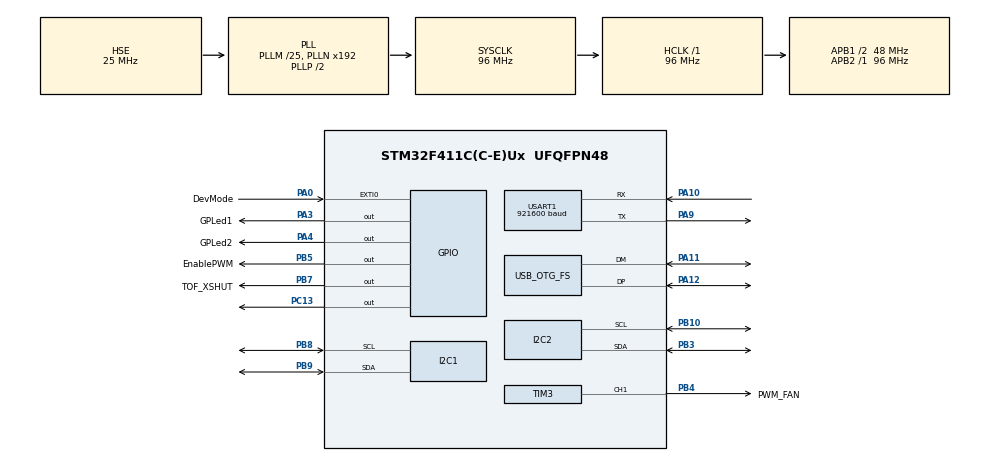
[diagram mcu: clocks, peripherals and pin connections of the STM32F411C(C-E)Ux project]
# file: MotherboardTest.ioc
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I2C1.I2C_Mode=I2C_Fast
I2C2.I2C_Mode=I2C_Fast
Mcu.Family=STM32F4
Mcu.Name=STM32F411C(C-E)Ux
Mcu.Package=UFQFPN48
NVIC.EXTI0_IRQn=true\:0\:0\:false\:false\:true\:true\:true\:true
NVIC.OTG_FS_IRQn=true\:0\:0\:false\:false\:true\:false\:true\:true
NVIC.PriorityGroup=NVIC_PRIORITYGROUP_4
NVIC.TIM1_UP_TIM10_IRQn=true\:0\:0\:false\:false\:true\:true\:true\:true
NVIC.USART1_IRQn=true\:0\:0\:false\:false\:true\:true\:true\:true
PA0-WKUP.GPIO_Label=DevMode
PA0-WKUP.GPIO_ModeDefaultEXTI=GPIO_MODE_IT_FALLING
PA0-WKUP.GPIO_PuPd=GPIO_PULLUP
PA0-WKUP.Signal=GPXTI0
PA10.Mode=Asynchronous
PA10.Signal=USART1_RX
PA11.Mode=Device_Only
PA11.Signal=USB_OTG_FS_DM
PA12.Mode=Device_Only
PA12.Signal=USB_OTG_FS_DP
PA13.Mode=Serial_Wire
PA13.Signal=SYS_JTMS-SWDIO
PA14.Mode=Serial_Wire
PA14.Signal=SYS_JTCK-SWCLK
PA3.GPIO_Label=GPLed1
PA3.Signal=GPIO_Output
PA4.GPIO_Label=GPLed2
PA4.Signal=GPIO_Output
PA9.Mode=Asynchronous
PA9.Signal=USART1_TX
PB10.Mode=I2C
PB10.Signal=I2C2_SCL
PB3.Mode=I2C
PB3.Signal=I2C2_SDA
PB4.GPIO_Label=PWM_FAN
PB4.Signal=S_TIM3_CH1
PB5.GPIO_Label=EnablePWM
PB5.Signal=GPIO_Output
PB7.GPIO_Label=TOF_XSHUT
PB7.Signal=GPIO_Output
PB8.Mode=I2C
PB8.Signal=I2C1_SCL
PB9.Mode=I2C
PB9.Signal=I2C1_SDA
PC13-ANTI_TAMP.Signal=GPIO_Output
PC14-OSC32_IN.Mode=LSE-External-Oscillator
PC14-OSC32_IN.Signal=RCC_OSC32_IN
PC15-OSC32_OUT.Mode=LSE-External-Oscillator
PC15-OSC32_OUT.Signal=RCC_OSC32_OUT
PH0\ -\ OSC_IN.Mode=HSE-External-Oscillator
PH0\ -\ OSC_IN.Signal=RCC_OSC_IN
PH1\ -\ OSC_OUT.Mode=HSE-External-Oscillator
PH1\ -\ OSC_OUT.Signal=RCC_OSC_OUT
ProjectManager.HeapSize=0x200
ProjectManager.StackSize=0x400
ProjectManager.TargetToolchain=STM32CubeIDE
RCC.48MHZClocksFreq_Value=48000000
RCC.AHBFreq_Value=96000000
RCC.APB1CLKDivider=RCC_HCLK_DIV2
RCC.APB1Freq_Value=48000000
RCC.APB1TimFreq_Value=96000000
RCC.APB2Freq_Value=96000000
RCC.APB2TimFreq_Value=96000000
RCC.CortexFreq_Value=96000000
RCC.HCLKFreq_Value=96000000
RCC.HSE_VALUE=25000000
RCC.HSI_VALUE=16000000
RCC.PLLM=25
RCC.RCC_RTC_Clock_Source=RCC_RTCCLKSOURCE_LSE
RCC.RCC_RTC_Clock_SourceVirtual=RCC_RTCCLKSOURCE_LSE
RCC.SYSCLKFreq_VALUE=96000000
RCC.SYSCLKSource=RCC_SYSCLKSOURCE_PLLCLK
RCC.VCOOutputFreq_Value=192000000
SH.S_TIM3_CH1.0=TIM3_CH1,PWM Generation1 CH1
TIM1.AutoReloadPreload=TIM_AUTORELOAD_PRELOAD_ENABLE
TIM1.Period=47999
TIM1.Prescaler=1
TIM3.AutoReloadPreload=TIM_AUTORELOAD_PRELOAD_ENABLE
TIM3.Channel-PWM\ Generation1\ CH1=TIM_CHANNEL_1
TIM3.Period=2999
USART1.BaudRate=921600
USART1.Parity=PARITY_EVEN
USART1.VirtualMode=VM_ASYNC
USART1.WordLength=WORDLENGTH_9B
USB_DEVICE.CLASS_NAME_FS=CDC
USB_DEVICE.PRODUCT_STRING_CDC_FS=STM32 Pneumatic Levitator Test
USB_DEVICE.VirtualMode=Cdc
USB_DEVICE.VirtualModeFS=Cdc_FS
USB_OTG_FS.VirtualMode=Device_Only
VP_RTC_VS_RTC_Activate.Mode=RTC_Enabled
VP_TIM1_VS_ClockSourceINT.Mode=Internal
VP_TIM3_VS_ClockSourceINT.Mode=Internal
VP_USB_DEVICE_VS_USB_DEVICE_CDC_FS.Mode=CDC_FS
board=custom

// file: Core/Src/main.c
/* USER CODE BEGIN Header */
/**
  ******************************************************************************
  * @file           : main.c
  * @brief          : Main program body
  ******************************************************************************
  * @attention
  *
  * Copyright (c) 2023 STMicroelectronics.
  * All rights reserved.
  *
  * This software is licensed under terms that can be found in the LICENSE file
  * in the root directory of this software component.
  * If no LICENSE file comes with this software, it is provided AS-IS.
  *
  ******************************************************************************
  */
/* USER CODE END Header */
#include "main.h"
#include "usb_device.h"

/* USER CODE BEGIN Includes */
#include "usbd_cdc_if.h"
#include "vl53l0x_api.h"
#include "vl53l0x_platform.h"
#include <stdio.h>
#include <string.h>
/* USER CODE END Includes */

/* USER CODE BEGIN PD */
#define EEPROM_ADDR 0xA0
#define Reference 520
#define MeasureTolerance 5 //To reduce numeric noise
/* USER CODE END PD */

I2C_HandleTypeDef hi2c1;
I2C_HandleTypeDef hi2c2;

RTC_HandleTypeDef hrtc;

TIM_HandleTypeDef htim1;
TIM_HandleTypeDef htim3;

UART_HandleTypeDef huart1;

void SystemClock_Config(void);
static void MX_GPIO_Init(void);
static void MX_I2C1_Init(void);
static void MX_I2C2_Init(void);
static void MX_RTC_Init(void);
static void MX_USART1_UART_Init(void);
static void MX_TIM1_Init(void);
static void MX_TIM3_Init(void);
/* USER CODE BEGIN PFP */
static void vTaskUSBSensor(void);
static void vTaskUSB(void);
static void vTaskBlink(void);
static void vTaskFan(void);
/* USER CODE END PFP */

/* USER CODE BEGIN 0 */
extern USBD_HandleTypeDef hUsbDeviceFS;
const char* Start = "Starting count\n";
const char* Overflow = "Overflow on the counter\n";
char Buffer[32] = "";
char USBBuffer[45] = "";
char UART_IncomData;
uint16_t Flag = 1;
uint16_t ParsedFlag = 1;
uint8_t DeviceConnected = 0;
uint8_t NeedToReport = 0;
static uint16_t MaxCCR = 0;
//VL053L0X
static VL53L0X_RangingMeasurementData_t RangingData;
static VL53L0X_Dev_t  vl53l0x_c; //center module
static VL53L0X_DEV    Dev = &vl53l0x_c;
static uint32_t refSpadCount;
static uint8_t isApertureSpads;
static uint8_t VhvSettings;
static uint8_t PhaseCal;
static uint16_t distance, past_measure;
/* USER CODE END 0 */

int main(void)
{

  /* MCU Configuration--------------------------------------------------------*/

  /* Reset of all peripherals, Initializes the Flash interface and the Systick. */
  HAL_Init();

  /* Configure the system clock */
  SystemClock_Config();

  /* Initialize all configured peripherals */
  MX_GPIO_Init();
  MX_I2C1_Init();
  MX_I2C2_Init();
  MX_RTC_Init();
  MX_USART1_UART_Init();
  MX_USB_DEVICE_Init();
  MX_TIM1_Init();
  MX_TIM3_Init();
  /* USER CODE BEGIN 2 */
  HAL_TIM_Base_Start_IT(&htim1);
  HAL_UART_Receive_IT(&huart1, (uint8_t*)&UART_IncomData, 1);

  /* Init the VL53L0X sensor */
  MaxCCR = htim3.Init.Period;
  Dev->I2cHandle = &hi2c1;
  Dev->I2cDevAddr = 0x52;

  //Disable XSHUT
  HAL_GPIO_WritePin(TOF_XSHUT_GPIO_Port, TOF_XSHUT_Pin, GPIO_PIN_RESET);
  HAL_Delay(20);

  //Enable XSHUT
  HAL_GPIO_WritePin(TOF_XSHUT_GPIO_Port, TOF_XSHUT_Pin, GPIO_PIN_SET);
  HAL_Delay(20);

  VL53L0X_WaitDeviceBooted( Dev );
  VL53L0X_DataInit( Dev );
  VL53L0X_StaticInit( Dev );
  VL53L0X_PerformRefCalibration(Dev, &VhvSettings, &PhaseCal);
  VL53L0X_PerformRefSpadManagement(Dev, &refSpadCount, &isApertureSpads);
  VL53L0X_SetDeviceMode(Dev, VL53L0X_DEVICEMODE_SINGLE_RANGING);

  //Enable/Disable Sigma and Signal check
  VL53L0X_SetLimitCheckEnable(Dev, VL53L0X_CHECKENABLE_SIGMA_FINAL_RANGE, 1);
  VL53L0X_SetLimitCheckEnable(Dev, VL53L0X_CHECKENABLE_SIGNAL_RATE_FINAL_RANGE, 1);
  VL53L0X_SetLimitCheckValue(Dev, VL53L0X_CHECKENABLE_SIGNAL_RATE_FINAL_RANGE, (FixPoint1616_t)(0.1*65536));
  VL53L0X_SetLimitCheckValue(Dev, VL53L0X_CHECKENABLE_SIGMA_FINAL_RANGE, (FixPoint1616_t)(60*65536));
  VL53L0X_SetMeasurementTimingBudgetMicroSeconds(Dev, 33000);
  VL53L0X_SetVcselPulsePeriod(Dev, VL53L0X_VCSEL_PERIOD_PRE_RANGE, 18);
  VL53L0X_SetVcselPulsePeriod(Dev, VL53L0X_VCSEL_PERIOD_FINAL_RANGE, 14);

  /*PWM FAN Init*/
  TIM3->CCR1 = 149; //Low PWM signal at start - 5% of Duty
  HAL_TIM_PWM_Start(&htim3, TIM_CHANNEL_1);
  HAL_GPIO_WritePin(EnablePWM_GPIO_Port, EnablePWM_Pin, 1); //Turning on the AND gate
  /* USER CODE END 2 */

  /* Infinite loop */
  /* USER CODE BEGIN WHILE */
  while (1)
  {
		//vTaskUSB();
		vTaskUSBSensor();
		vTaskBlink();
		vTaskFan();
		ParsedFlag = 1;
		while(ParsedFlag); //Parsed Loop @ 1ms
    /* USER CODE END WHILE */

  }
}

void SystemClock_Config(void)
{
  RCC_OscInitTypeDef RCC_OscInitStruct = {0};
  RCC_ClkInitTypeDef RCC_ClkInitStruct = {0};

  /** Configure the main internal regulator output voltage
  */
  __HAL_RCC_PWR_CLK_ENABLE();
  __HAL_PWR_VOLTAGESCALING_CONFIG(PWR_REGULATOR_VOLTAGE_SCALE1);

  /** Initializes the RCC Oscillators according to the specified parameters
  * in the RCC_OscInitTypeDef structure.
  */
  RCC_OscInitStruct.OscillatorType = RCC_OSCILLATORTYPE_HSE|RCC_OSCILLATORTYPE_LSE;
  RCC_OscInitStruct.HSEState = RCC_HSE_ON;
  RCC_OscInitStruct.LSEState = RCC_LSE_ON;
  RCC_OscInitStruct.PLL.PLLState = RCC_PLL_ON;
  RCC_OscInitStruct.PLL.PLLSource = RCC_PLLSOURCE_HSE;
  RCC_OscInitStruct.PLL.PLLM = 25;
  RCC_OscInitStruct.PLL.PLLN = 192;
  RCC_OscInitStruct.PLL.PLLP = RCC_PLLP_DIV2;
  RCC_OscInitStruct.PLL.PLLQ = 4;
  if (HAL_RCC_OscConfig(&RCC_OscInitStruct) != HAL_OK)
  {
    Error_Handler();
  }

  /** Initializes the CPU, AHB and APB buses clocks
  */
  RCC_ClkInitStruct.ClockType = RCC_CLOCKTYPE_HCLK|RCC_CLOCKTYPE_SYSCLK
                              |RCC_CLOCKTYPE_PCLK1|RCC_CLOCKTYPE_PCLK2;
  RCC_ClkInitStruct.SYSCLKSource = RCC_SYSCLKSOURCE_PLLCLK;
  RCC_ClkInitStruct.AHBCLKDivider = RCC_SYSCLK_DIV1;
  RCC_ClkInitStruct.APB1CLKDivider = RCC_HCLK_DIV2;
  RCC_ClkInitStruct.APB2CLKDivider = RCC_HCLK_DIV1;

  if (HAL_RCC_ClockConfig(&RCC_ClkInitStruct, FLASH_LATENCY_3) != HAL_OK)
  {
    Error_Handler();
  }
}

static void MX_I2C1_Init(void)
{

  hi2c1.Instance = I2C1;
  hi2c1.Init.ClockSpeed = 400000;
  hi2c1.Init.DutyCycle = I2C_DUTYCYCLE_2;
  hi2c1.Init.OwnAddress1 = 0;
  hi2c1.Init.AddressingMode = I2C_ADDRESSINGMODE_7BIT;
  hi2c1.Init.DualAddressMode = I2C_DUALADDRESS_DISABLE;
  hi2c1.Init.OwnAddress2 = 0;
  hi2c1.Init.GeneralCallMode = I2C_GENERALCALL_DISABLE;
  hi2c1.Init.NoStretchMode = I2C_NOSTRETCH_DISABLE;
  if (HAL_I2C_Init(&hi2c1) != HAL_OK)
  {
    Error_Handler();
  }

}

static void MX_I2C2_Init(void)
{

  hi2c2.Instance = I2C2;
  hi2c2.Init.ClockSpeed = 400000;
  hi2c2.Init.DutyCycle = I2C_DUTYCYCLE_2;
  hi2c2.Init.OwnAddress1 = 0;
  hi2c2.Init.AddressingMode = I2C_ADDRESSINGMODE_7BIT;
  hi2c2.Init.DualAddressMode = I2C_DUALADDRESS_DISABLE;
  hi2c2.Init.OwnAddress2 = 0;
  hi2c2.Init.GeneralCallMode = I2C_GENERALCALL_DISABLE;
  hi2c2.Init.NoStretchMode = I2C_NOSTRETCH_DISABLE;
  if (HAL_I2C_Init(&hi2c2) != HAL_OK)
  {
    Error_Handler();
  }

}

static void MX_RTC_Init(void)
{

  /** Initialize RTC Only
  */
  hrtc.Instance = RTC;
  hrtc.Init.HourFormat = RTC_HOURFORMAT_24;
  hrtc.Init.AsynchPrediv = 127;
  hrtc.Init.SynchPrediv = 255;
  hrtc.Init.OutPut = RTC_OUTPUT_DISABLE;
  hrtc.Init.OutPutPolarity = RTC_OUTPUT_POLARITY_HIGH;
  hrtc.Init.OutPutType = RTC_OUTPUT_TYPE_OPENDRAIN;
  if (HAL_RTC_Init(&hrtc) != HAL_OK)
  {
    Error_Handler();
  }

}

static void MX_TIM1_Init(void)
{

  TIM_ClockConfigTypeDef sClockSourceConfig = {0};
  TIM_MasterConfigTypeDef sMasterConfig = {0};

  htim1.Instance = TIM1;
  htim1.Init.Prescaler = 1;
  htim1.Init.CounterMode = TIM_COUNTERMODE_UP;
  htim1.Init.Period = 47999;
  htim1.Init.ClockDivision = TIM_CLOCKDIVISION_DIV1;
  htim1.Init.RepetitionCounter = 0;
  htim1.Init.AutoReloadPreload = TIM_AUTORELOAD_PRELOAD_ENABLE;
  if (HAL_TIM_Base_Init(&htim1) != HAL_OK)
  {
    Error_Handler();
  }
  sClockSourceConfig.ClockSource = TIM_CLOCKSOURCE_INTERNAL;
  if (HAL_TIM_ConfigClockSource(&htim1, &sClockSourceConfig) != HAL_OK)
  {
    Error_Handler();
  }
  sMasterConfig.MasterOutputTrigger = TIM_TRGO_RESET;
  sMasterConfig.MasterSlaveMode = TIM_MASTERSLAVEMODE_DISABLE;
  if (HAL_TIMEx_MasterConfigSynchronization(&htim1, &sMasterConfig) != HAL_OK)
  {
    Error_Handler();
  }

}

static void MX_TIM3_Init(void)
{

  TIM_ClockConfigTypeDef sClockSourceConfig = {0};
  TIM_MasterConfigTypeDef sMasterConfig = {0};
  TIM_OC_InitTypeDef sConfigOC = {0};

  htim3.Instance = TIM3;
  htim3.Init.Prescaler = 0;
  htim3.Init.CounterMode = TIM_COUNTERMODE_UP;
  htim3.Init.Period = 2999;
  htim3.Init.ClockDivision = TIM_CLOCKDIVISION_DIV1;
  htim3.Init.AutoReloadPreload = TIM_AUTORELOAD_PRELOAD_ENABLE;
  if (HAL_TIM_Base_Init(&htim3) != HAL_OK)
  {
    Error_Handler();
  }
  sClockSourceConfig.ClockSource = TIM_CLOCKSOURCE_INTERNAL;
  if (HAL_TIM_ConfigClockSource(&htim3, &sClockSourceConfig) != HAL_OK)
  {
    Error_Handler();
  }
  if (HAL_TIM_PWM_Init(&htim3) != HAL_OK)
  {
    Error_Handler();
  }
  sMasterConfig.MasterOutputTrigger = TIM_TRGO_RESET;
  sMasterConfig.MasterSlaveMode = TIM_MASTERSLAVEMODE_DISABLE;
  if (HAL_TIMEx_MasterConfigSynchronization(&htim3, &sMasterConfig) != HAL_OK)
  {
    Error_Handler();
  }
  sConfigOC.OCMode = TIM_OCMODE_PWM1;
  sConfigOC.Pulse = 0;
  sConfigOC.OCPolarity = TIM_OCPOLARITY_HIGH;
  sConfigOC.OCFastMode = TIM_OCFAST_DISABLE;
  if (HAL_TIM_PWM_ConfigChannel(&htim3, &sConfigOC, TIM_CHANNEL_1) != HAL_OK)
  {
    Error_Handler();
  }
  HAL_TIM_MspPostInit(&htim3);

}

static void MX_USART1_UART_Init(void)
{

  huart1.Instance = USART1;
  huart1.Init.BaudRate = 921600;
  huart1.Init.WordLength = UART_WORDLENGTH_9B;
  huart1.Init.StopBits = UART_STOPBITS_1;
  huart1.Init.Parity = UART_PARITY_EVEN;
  huart1.Init.Mode = UART_MODE_TX_RX;
  huart1.Init.HwFlowCtl = UART_HWCONTROL_NONE;
  huart1.Init.OverSampling = UART_OVERSAMPLING_16;
  if (HAL_UART_Init(&huart1) != HAL_OK)
  {
    Error_Handler();
  }

}

static void MX_GPIO_Init(void)
{
  GPIO_InitTypeDef GPIO_InitStruct = {0};

  /* GPIO Ports Clock Enable */
  __HAL_RCC_GPIOC_CLK_ENABLE();
  __HAL_RCC_GPIOH_CLK_ENABLE();
  __HAL_RCC_GPIOA_CLK_ENABLE();
  __HAL_RCC_GPIOB_CLK_ENABLE();

  /*Configure GPIO pin Output Level */
  HAL_GPIO_WritePin(GPIOC, GPIO_PIN_13, GPIO_PIN_RESET);

  /*Configure GPIO pin Output Level */
  HAL_GPIO_WritePin(GPIOA, GPLed1_Pin|GPLed2_Pin, GPIO_PIN_RESET);

  /*Configure GPIO pin Output Level */
  HAL_GPIO_WritePin(GPIOB, EnablePWM_Pin|TOF_XSHUT_Pin, GPIO_PIN_RESET);

  /*Configure GPIO pin : PC13 */
  GPIO_InitStruct.Pin = GPIO_PIN_13;
  GPIO_InitStruct.Mode = GPIO_MODE_OUTPUT_PP;
  GPIO_InitStruct.Pull = GPIO_NOPULL;
  GPIO_InitStruct.Speed = GPIO_SPEED_FREQ_LOW;
  HAL_GPIO_Init(GPIOC, &GPIO_InitStruct);

  /*Configure GPIO pin : DevMode_Pin */
  GPIO_InitStruct.Pin = DevMode_Pin;
  GPIO_InitStruct.Mode = GPIO_MODE_IT_FALLING;
  GPIO_InitStruct.Pull = GPIO_PULLUP;
  HAL_GPIO_Init(DevMode_GPIO_Port, &GPIO_InitStruct);

  /*Configure GPIO pins : GPLed1_Pin GPLed2_Pin */
  GPIO_InitStruct.Pin = GPLed1_Pin|GPLed2_Pin;
  GPIO_InitStruct.Mode = GPIO_MODE_OUTPUT_PP;
  GPIO_InitStruct.Pull = GPIO_NOPULL;
  GPIO_InitStruct.Speed = GPIO_SPEED_FREQ_LOW;
  HAL_GPIO_Init(GPIOA, &GPIO_InitStruct);

  /*Configure GPIO pins : EnablePWM_Pin TOF_XSHUT_Pin */
  GPIO_InitStruct.Pin = EnablePWM_Pin|TOF_XSHUT_Pin;
  GPIO_InitStruct.Mode = GPIO_MODE_OUTPUT_PP;
  GPIO_InitStruct.Pull = GPIO_NOPULL;
  GPIO_InitStruct.Speed = GPIO_SPEED_FREQ_LOW;
  HAL_GPIO_Init(GPIOB, &GPIO_InitStruct);

  /* EXTI interrupt init*/
  HAL_NVIC_SetPriority(EXTI0_IRQn, 0, 0);
  HAL_NVIC_EnableIRQ(EXTI0_IRQn);

}

/* USER CODE BEGIN 4 */

/* Temporal function for sensor test */
static void vTaskUSBSensor(void) {
	static uint8_t timeCounter = 0;
	char Buffer[32] = "";

	if(timeCounter == 300) {
		//Send data each 300ms
		VL53L0X_PerformSingleRangingMeasurement(Dev, &RangingData);
		if(RangingData.RangeStatus == 0) {
			//Data have been acquired
			if(RangingData.RangeMilliMeter > past_measure+MeasureTolerance || RangingData.RangeMilliMeter < past_measure-MeasureTolerance) {
				//It's a significant change on the measure
				distance = Reference - RangingData.RangeMilliMeter;
				if(CDC_getReady() == USBD_OK) {
					//Sending to usb
					memset(Buffer, '\0', sizeof(Buffer));
					sprintf(Buffer, "%d", distance);
					CDC_Transmit_FS((uint8_t *)Buffer, strlen(Buffer));
				}
				past_measure = distance;
			}
		}
	}
	timeCounter++;
}

static void vTaskUSB(void)
{
	uint8_t MemValue = 1;
	uint8_t ReadVal;
	static uint16_t Counts = 0;
	static uint32_t NumberOfSends = 0;
	char Buffer[32] = "";
	if(Counts == 1000)
	{
		if(hUsbDeviceFS.dev_state == USBD_STATE_CONFIGURED)
		{
			if(hUsbDeviceFS.dev_state == USBD_STATE_CONFIGURED)
			{
				if(HAL_I2C_Mem_Write(&hi2c2, EEPROM_ADDR, 0, 1, &MemValue, 1, 100) == HAL_OK)
				{
					if(CDC_getReady() == USBD_OK)
					{
						memset(Buffer, '\0', sizeof(Buffer));
						sprintf(Buffer, "Memory OK N:%d\n", (int)NumberOfSends);
						CDC_Transmit_FS((uint8_t *)Buffer, strlen(Buffer));
						NumberOfSends++;
					}
				}
				else
				{
					if(CDC_getReady() == USBD_OK)
					{
						memset(Buffer, '\0', sizeof(Buffer));
						sprintf(Buffer, "Memory not responding\n");
						CDC_Transmit_FS((uint8_t *)Buffer, strlen(Buffer));
					}
				}
			}
		}
		Counts = 0;
	}
	else if(Counts == 500)
	{
		if(HAL_I2C_Mem_Read(&hi2c2, EEPROM_ADDR, 0, 1, &ReadVal, 1, 100) == HAL_OK)
		{
			if(CDC_getReady() == USBD_OK)
			{
				memset(Buffer, '\0', sizeof(Buffer));
				sprintf(Buffer, "Memory value is %d\n", (int)ReadVal);
				CDC_Transmit_FS((uint8_t *)Buffer, strlen(Buffer));
			}
		}
		if(CDC_getReady() == USBD_OK)
		{
			memset(Buffer, '\0', sizeof(Buffer));
			sprintf(Buffer, "Memory not responding\n");
			CDC_Transmit_FS((uint8_t *)Buffer, strlen(Buffer));
		}
	}
	//Counts++; Disable the EEPROM Test

	if(NeedToReport)
	{
		if(CDC_getReady() == USBD_OK)
		{
			CDC_Transmit_FS((uint8_t *)USBBuffer, strlen(USBBuffer));
			NeedToReport = 0;
		}
	}
}

static void vTaskBlink(void)
{
  static uint32_t Count = 0;
  if(Count == 100)
	  HAL_GPIO_TogglePin(GPIOC, GPIO_PIN_13);
  else if(Count == 200)
	  HAL_GPIO_TogglePin(GPIOA, GPIO_PIN_3);
  else if(Count == 300)
	  HAL_GPIO_TogglePin(GPIOA, GPIO_PIN_4);
  if(Count >= 400)
	  Count = 0;
  Count++;
}

static void vTaskFan(void)
{
	enum states {
		idle,
		ramp
	}static stateHandler = idle;
  static uint32_t timeCount = 0;

  switch(stateHandler)
  {
  	case idle:
  		TIM3->CCR1 = 149; //5% Duty cycle
  		timeCount++;
  		if(timeCount >= 500) { //Wait for 500ms
  			stateHandler = ramp;
  			timeCount = 0;
  		}
  	break;
  	case ramp:
  		TIM3->CCR1 += 2;
  	  //Giving 5% top constraint
  	  if(TIM3->CCR1 >= MaxCCR-149) {
  	  	stateHandler = idle;
  	  }
  	break;
  	default:
  		/* Code should not reach this line */
  		TIM3->CCR1 = 149; //5% Duty cycle
  	break;
  }
}

void HAL_TIM_PeriodElapsedCallback(TIM_HandleTypeDef *htim)
{
	ParsedFlag = 0;
}

void HAL_UART_RxCpltCallback(UART_HandleTypeDef *huart)
{
  const char* RXBufferOverflow = "UART RXBufferOverflow: Size 32\n";
  static uint16_t DataCount = 0;
  static char Buffer[32] = "";
  Buffer[DataCount] = UART_IncomData;
  DataCount++;
  if(UART_IncomData == '!')
  {
    if(CDC_getReady() == USBD_OK)
    {
      memset(USBBuffer, '\0', strlen(USBBuffer));
      sprintf(USBBuffer, "Incom Data: %s\n", Buffer);
      NeedToReport = 1;
    }
    memset(Buffer, '\0', DataCount);
    DataCount = 0;
  }
  if(DataCount > 32)
  {
	if(CDC_getReady() == USBD_OK)
	{
	  CDC_Transmit_FS((uint8_t*)RXBufferOverflow, strlen(RXBufferOverflow));
	}
	memset(Buffer, '\0', 32);
  }
  HAL_UART_Receive_IT(&huart1, (uint8_t*)&UART_IncomData, 1);
}

void HAL_GPIO_EXTI_Callback(uint16_t GPIO_Pin)
{
	const char *Buffer = "Pressed Dev Mode\n";
	if(CDC_getReady() == USBD_OK)
	{
		CDC_Transmit_FS((uint8_t*)Buffer, strlen(Buffer));
	}
}
/* USER CODE END 4 */

void Error_Handler(void)
{
  __disable_irq();
  while (1)
  {
  }
}
